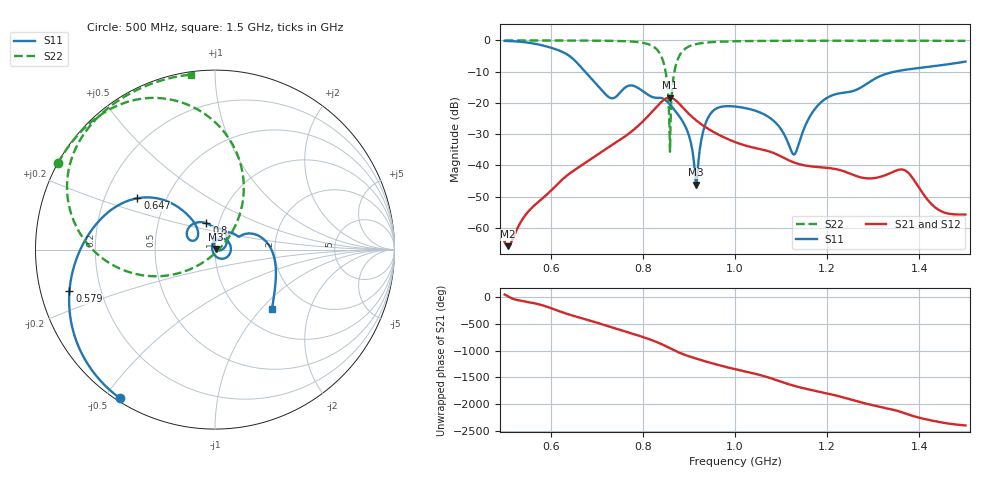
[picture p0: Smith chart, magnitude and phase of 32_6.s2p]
! TOUCHSTONE file generated by CST MICROWAVE STUDIO
! Date and time: Fri Oct  2 18:59:21 2020
! Project name: Scenario_1_Free_Space_out_of_line.cst
! Parameters = {Lambda=346.42; Step_1=17.321; dy1=-189.931; dx1=1039; L_HA=400; MT=2.54; Rad_Dielectric=30; Rad_Lower=7.3; Rad_Upper=30; a_HA=580; a_WG=246; b_HA=500; b_WG=121; c_HA=0; c_WG=187; d_feed=85; h_feed=15; h_lower=18; h_upper=40}
! Header version: 2018
! Port assignment regex: !\s*Touchstone port\s*([0-9]+)\s*=\s*(CST MWS port|CST DS port)\s*([0-9]+|Zmin|Zmax)\s*\(\"(.*)\"\)(\s*mode\s*([0-9]+))?.*
! Touchstone port assignment:
! Touchstone port 1 = CST MWS port 1 ("")
! Touchstone port 2 = CST MWS port 2 ("")
# GHz S DB R 50
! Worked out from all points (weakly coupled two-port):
!   1003 points, 500 MHz to 1.5 GHz, reference 50 ohm
!   highest |S21| = -18.28 dB at 858 MHz (marker M1); lowest = -65.8 dB at 507 MHz (marker M2)
!   lowest |S11| = -46.1 dB at 916 MHz (marker M3), VSWR 1.01, Z = 50.3 + j0.369 ohm
!   |S11| at or under -10 dB: 674.7 MHz to 1.346 GHz (671.6 MHz wide, 66.5 % of centre)
!   |S22| runs from -35.6 to 0.0 dB; largest |S21 - S12| = 4.3e-06
!   S11 on the Smith chart (normalised r, x): 500 MHz: 0.01, -0.55; 579 MHz: 0.09, -0.14; 647 MHz: 0.34, +0.27; 800 MHz: 0.87, +0.26; 1.5 GHz: 1.38, -1.15
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0.5  -0.15 -122.5  -64.46 44.3  -64.46 44.3  -0.01 151.1
0.507  -0.18 -125.6  -65.82 12.3  -65.82 12.3  -0.01 150.7
0.579  -1.48 -164.0  -50.94 -148.5  -50.94 -148.5  -0.01 145.7
0.647  -5.70 146.5  -41.96 12.9  -41.96 12.9  -0.03 140.2
0.667  -8.74 133.9  -39.97 -36.8  -39.97 -36.8  -0.04 138.3
0.729  -18.37 142.6  -33.85 162.5  -33.85 162.5  -0.12 130.9
0.8  -16.23 107.9  -25.91 -27.1  -25.91 -27.1  -0.76 112.7
0.834  -18.34 82.7  -20.61 -135.1  -20.61 -135.1  -3.53 86.3
0.848  -18.98 61.0  -18.77 170.2  -18.77 170.2  -8.94 63.4
0.858  -20.42 45.2  -18.28 127.0  -18.28 127.0  -30.00 17.4
0.877  -23.83 20.4  -19.95 48.7  -19.95 48.7  -5.59 -167.6
0.9  -30.42 -7.8  -23.49 -26.1  -23.49 -26.1  -1.93 168.8
0.916  -46.14 47.9  -25.61 -70.5  -25.61 -70.5  -1.16 160.0
0.944  -24.09 70.9  -28.48 -142.1  -28.48 -142.1  -0.60 150.5
1  -21.15 -5.5  -32.51 94.0  -32.51 94.0  -0.26 140.2
1.08  -25.24 -63.6  -35.80 -82.2  -35.80 -82.2  -0.13 131.5
1.128  -36.49 -168.4  -39.04 143.3  -39.04 143.3  -0.11 127.3
1.167  -23.26 84.8  -40.32 62.4  -40.32 62.4  -0.10 124.2
1.334  -10.44 4.9  -42.64 75.7  -42.64 75.7  -0.09 111.4
1.369  -9.40 -10.2  -41.56 -10.6  -41.56 -10.6  -0.09 108.7
1.437  -8.12 -31.3  -53.73 -162.5  -53.73 -162.4  -0.11 103.3
1.5  -6.78 -46.1  -55.70 123.7  -55.71 123.7  -0.14 97.9
